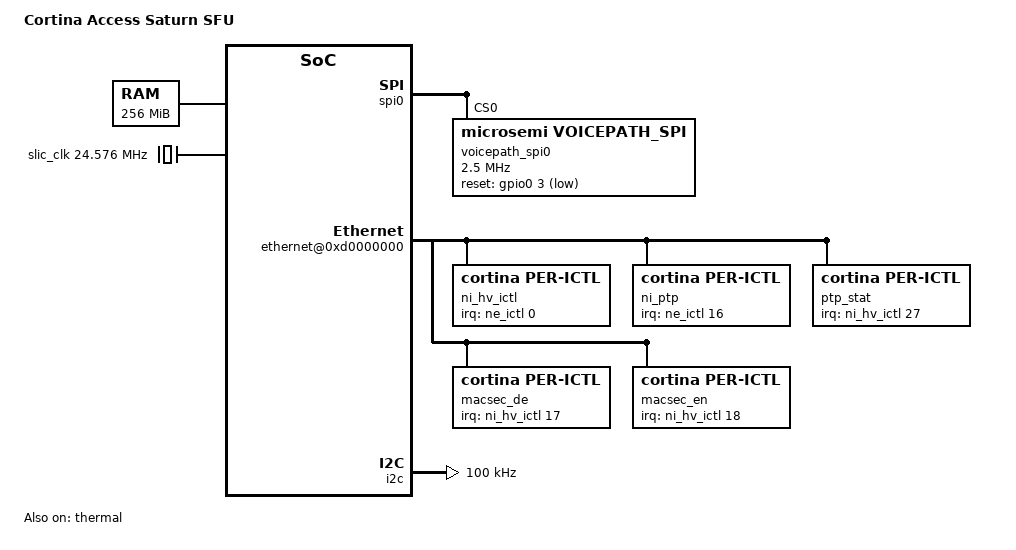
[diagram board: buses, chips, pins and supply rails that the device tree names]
/*
 * dts file for Cortina Access Saturn Development Board
 *
 * Copyright (C) 2016, Cortina Access
 */

#include <dt-bindings/gpio/gpio.h>
#include <dt-bindings/reset/cortina,rst-mgr.h>
#include "saturn_soc.dtsi"
#include "saturn_led.dtsi"

/* board specific and SoC overrides below */
/ {
	model = "Cortina Access Saturn SFU";
	#address-cells = <1>;
	#size-cells = <1>;

	memory { /* 256MB */
		device_type = "memory";
		reg = <0x00000000 0x10000000>;
	};
	
	ca_peri{
		compatible = "cortina,ca-peri";
		reg = <0xb2224018 0x1000>,
		      <0xbc100000 0x60>;
		interrupt-parent = <&per_ictl>;
		interrupts = <2>;
		interrupt-names = "TMR1";
	};

	qm_ictl: qm_ictl@bc100094 {     /* QM interrupt */
		compatible = "cortina,per-ictl";
		reg = <0xbc100094  0x8>;
		interrupt-controller;
		#interrupt-cells = <1>;
		interrupt-parent = <&cpuintc>;
		interrupts = <4>;
	};

	lso_fbm_ictl: lso_fbm_ictl@bc100084 {	/* LSO_FBM interrupt */
		status = "disabled";
		reg = <0xbc100084  0x8>;
	};

	dma_ssp_ictl0: dma_ssp_ictl@b400ae08 {     /* DMA_SSP0 interrupt */
		status = "disabled";
		compatible = "cortina,per-ictl";
		reg = <0xb400ae08  0x8>;
		interrupt-controller;
		#interrupt-cells = <1>;
		interrupt-parent = <&lso_fbm_ictl>;
		interrupts = <8>;
	};

	gpio-controller@b2224280 {
		#address-cells = <1>;
		#size-cells = <0>;
		compatible = "cortina,ca77xx-gpio";
		reg = <0xb2224280 0x90>,
		      <0xbc100058 0x10>;
		id = <0>;

		/* bank 0 with an interrupt */
		gpio0: bank@0 {
			gpio-controller;
			interrupt-controller;
			reg = <0>;
			ngpios = <32>;
			#gpio-cells = <2>;
			#interrupt-cells = <2>;
			interrupt-parent = <&per_ictl>;
			interrupts = <6>;
			gpio-ranges = <&pinctrl 0 0 32>;
		};

		/* bank 1 with an interrupt */
		gpio1: bank@1 {
			gpio-controller;
			interrupt-controller;
			reg = <1>;
			ngpios = <32>;
			#gpio-cells = <2>;
			#interrupt-cells = <2>;
			interrupt-parent = <&per_ictl>;
			interrupts = <7>;
			gpio-ranges = <&pinctrl 0 32 32>;
		};

		/* bank 2 without interrupt */
		gpio2: bank@2 {
			gpio-controller;
			interrupt-controller;
			reg = <2>;
			ngpios = <32>;
			#gpio-cells = <2>;
			#interrupt-cells = <2>;
			interrupt-parent = <&per_ictl>;
			interrupts = <8>;
			gpio-ranges = <&pinctrl 0 64 32>;
		};

		/* bank 3 without interrupt */
		gpio3: bank@3 {
			gpio-controller;
			interrupt-controller;
			reg = <3>;
			ngpios = <32>;
			#gpio-cells = <2>;
			#interrupt-cells = <2>;
			interrupt-parent = <&per_ictl>;
			interrupts = <9>;
			gpio-ranges = <&pinctrl 0 96 32>;
		};
	};

	pinctrl: pinctrl@0xbc100050 {
		compatible = "cortina,saturn-pinctrl";
		reg = <0xbc100050 0x18>;

		uart1_default: uart1_active {
			data_signals {
				pins = "GPIO_000", "GPIO_001", "PMUX_003";
				function = "multi-fn";
			};
		};

		led_ctrl_default: led_ctrl_active {
			data_signals {
				pins = "GPIO_006", "GPIO_007", "PMUX_004";
				function = "multi-fn";
			};
		};

		sflash4_ctrl_default: sflash4_enable_multi-io {
			data_signals {
				pins = "PMUX_024";
				function = "multi-fn";
			};
		};

		mmc_ctrl_default: mmc_ctrl_active {
			data_signals {
				pins = "GPIO_008", "GPIO_010", "PMUX_013";
				function = "multi-fn";
			};
		};
	};

	/* Driver for thermal sensor */
	thermal: thermal@bc10017c {
		compatible = "cortina,thermal-sensor";
		reg = <0xbc10017c 0x10>;
		status = "okay";
		#thermal-sensor-cells = <0>;
	};

	thermal-zones {
        cpu_thermal: cpu-thermal {
                polling-delay-passive = <500>; /* milliseconds */
                polling-delay = <1000>; /* milliseconds */

                thermal-sensors = <&thermal>;
        };
	};

	spi0: spi@b2224098 {
		compatible = "cortina,ca77xx-spi";
		reg = <0xb2224098 0x40>;
		interrupt-parent = <&per_ictl>;
		interrupts = <5>;
		clocks = <&io_clk>;
		#address-cells = <1>;
		#size-cells = <0>;

#if 0
		/* Si32183: channel_count = 1, with isi, mode spi-cpha
		 * Si32285: channel_count = 2, with isi, mode spi-cpha
		 */
		proslic_spi0: proslic_spi0@0 {
			compatible = "silabs,proslic_spi", "rohm,dh2228fv";
			status = "okay";
			spi-max-frequency = <2500000>;
			spi-isi;
			reg = <0>;
			spi-cpha;
			channel_count = <2>;
			debug_level = <7>;
			reset-gpio = <&gpio0 3 GPIO_ACTIVE_LOW>;
		};
#endif

#if 1
	        voicepath_spi0: voicepath_spi0@0 {
	                compatible = "microsemi,voicepath_spi", "rohm,dh2228fv";
	                status = "okay";
	                spi-max-frequency = <2500000>;
	                reg = <0>;
#if 0
	                spi-zsi;
	                spi-cpha;
	                spi-cpol;
#endif
	                channel_count = <2>;
	                debug_level = <7>;
	                reset-gpio = <&gpio0 3 GPIO_ACTIVE_LOW>;
	        };
#endif

#if 0
		lantiq_spi0: lantiq_spi0@0 {
			compatible = "lantiq,duslicxs", "rohm,dh2228fv";
			status = "okay";
			spi-max-frequency = <2500000>;
			reg = <0>;
			spi-cpha;
			spi-cpol;
			channel_count = <2>;
			debug_level = <7>;
			reset-gpio = <&gpio0 15 GPIO_ACTIVE_LOW>;
		};
#endif
	};

	slic_clk: ext_slic_clk {
		compatible = "fixed-clock";
		#clock-cells = <0>;

		/* extclk ONLY */
		/* ISI:24576000, ZSI:49152000 */
		clock-frequency = <24576000>;
		clock-output-names = "ext-slic-clk";
#if 0
		/* extclk & extsclk BOTH */
		clock-frequency = <2048000>;
		clock-output-names = "ext-slic-sclk";
#endif
	};

	audio: ssp0@b400ab80 {
		status = "disabled";
		compatible = "cortina,ca77xx-audio";
		reg = <0xb400ab80 0x80>,
		      <0xb400a064 0x08>,
		      <0xb400aa80 0x80>;
		reg-names = "ssp", "dma-glb", "dma-ssp";

		interrupt-parent = <&dma_ssp_ictl0>;
		interrupts = <6>,
			     <2>,
			     <3>;
		interrupt-names = "ssp", "dma-tx", "dma-rx";

		clocks = <&slic_clk>;
		clk-enhance;
	};

       /* Reserver memory region for Hash/FBM/NE and etc.
         * Fixme when NE team finalize size and offset
         */
        reserved-memory {
		#address-cells = <1>;
		#size-cells = <1>;

                ranges;

		ddr_cache_reserved: ddr_cache_buffer@0x03c48000 {
                           reg = <0x03c48000 0x2000000>;    /* reserved memory area in DDR $-coherent */
               };
		voip_reserved: voip_buffer@0x2000000 {
			 reg = <0x2000000 0x700000>;    /* reserved memory area in DDR for Taroko eCos */
		};

		voip_ipc_reserved: voip_ipc_noncache_buffer@0x2700000 {
			 reg = <0x2700000 0x100000>; 
		};

		pelog_reserved: pelog_shm@0x2800000 {
			 /*no-map;*/
			 reg = <0x2800000 0x1000>,
				<0x2801000 0x1000>;
		};
		pe_ipc_reserved: ipc_shm@0x2810000 {
			 /*no-map;*/
			 reg = <0x2810000 0x4800>;
		};
		iperf3_offload_reserved: iperf3_offload_pkt_buffer@0x02900000 {
			reg = <0x02900000 0x4e800>;
		};
        };

	pelog@0 {
		 compatible = "cortina,pelog";
		 memory-region = <&pelog_reserved>;
	};

	sem: sem@0x44110000 { /* Hardware Semaphore */
		compatible = "cortina,sem";
		reg = <0x44110000 0xc8>;				/* TODO - reserved for semaphore register*/
	};

	pe_ipc: pe_ipc@0x441100c8 { /* IPC */
		compatible = "cortina,ipc";
		memory-region = <&pe_ipc_reserved>;
		reg = <0x441100c8 0x48>;
		interrupt-parent = <&ipc0_ictl>;
		interrupts = <2>;
		interrupt-names = "IPC_PE0";
		pe-ipc-cpuid = <1>;
	};

	voip_ipc@0x2700000 {
		compatible = "cortina,voip_ipc";
		reg = <0xb2224000 0x20>,    /*PER_PERIPHERAL_INTERRUPT_0 base */
		      <0x40000000 0x10>;    /* DSP BOOT INS */
		memory-region = <&voip_ipc_reserved>,
				<&voip_reserved>;
		interrupt-parent = <&per_ictl>;	/* Saturn voip not work if comment out */
		interrupts = <0>;		/* Saturn voip not work if comment out */
		//pinctrl-0 = <&uart1_default>;	/* Saturn voip not work if comment out */
		//pinctrl-names = "default";	/* Saturn voip not work if comment out */

		resets = <&block_rst CPU_DSP_RESET>, <&block_rst RCPU1_RESET>, <&block_rst TAROKO1_ATU_RESET>;
		reset-names = "pe_reset", "rcpu_reset", "pe_atu_reset";
        };

        ethernet@0xd0000000 {
                compatible = "cortina,ni-interface";

                reg = <0xd0000000 0xa000>,       /* reserved memory area for HV NE(APB0) module registers */
                      <0x4410009c 0x10>,         /* reserved memory area for Global Network Engine Interrupt registers */
                      <0x522240d8 0x48>,         /* reserved memory area for MDIO registers */
                      <0xf4500000 0x2000>,       /* reserved memory area for XRAM */
                      <0xd000a000 0x900>,        /* reserved memory area for DMA LSO */
                      <0x40000000 0x40000>,      /* reserved memory area in SRAM */
                      <0x03c48000 0x2000000>,    /* reserved memory area in DDR $-coherent */
                      <0x02c48000 0x1000000>,    /* reserved memory area in DDR non-$cable, no used in Saturn SFU */
		      <0xd000b000 0x1000>,       /* reserved memory area for internal RTL8211 PHY registers */
                      <0xd000c000 0x2124>,       /* reserved memory area for XFI registers */
                      <0xd000e000 0x40>;         /* reserved memory area for PTP registers */

                interrupt-parent=<&qm_ictl>;
                interrupts=<8>, <9>, <10>, <11>, <12>, <13>, <14>, <15>, <16>, <17>;

                nvmem-cells = <&phy_param>, <&phy_calibration>;
                nvmem-cell-names = "param", "calibration";

                resets = <&block_rst NI_RESET>, <&block_rst L2FE_RESET>, <&block_rst L2TM_RESET>, <&block_rst L3FE_RESET>, <&block_rst SDRAM_RESET>, <&block_rst TQM_RESET>, <&block_rst DMA_RESET>, <&block_rst FBM_RESET>, <&global_cfg EXT_RESET>;
                reset-names = "ni_reset", "l2fe_reset", "l2tm_reset", "l3fe_reset", "sdram_reset", "tqm_reset", "dma_reset", "fbm_reset", "ext_reset";
               memory-region = <&ddr_cache_reserved>;

		dyinggasp-gpio = <&gpio0 1 GPIO_ACTIVE_LOW>;

		eth0: ethernet@0 {
			local-mac-address = [ 00 00 00 00 00 00 ];
		};

		eth1: ethernet@1 {
			local-mac-address = [ 00 00 00 00 00 00 ];
		};

		eth2: ethernet@2 {
			local-mac-address = [ 00 00 00 00 00 00 ];
		};

		eth3: ethernet@3 {
			local-mac-address = [ 00 00 00 00 00 00 ];
        };

		pon: pon_ictl@0 {
		interrupt-controller;
		#interrupt-cells = <1>;
		interrupt-parent = <&vecintc>;
		interrupts = <2>;
	};
	ni_psds_prbs: ni_psds_prbs@b403a220 {
                  compatible = "cortina,per-ictl";
                  interrupt-controller;
                  interrupt-parent = <&psds_prbs_ictl>;
                  interrupts = <0>;
                  };

        ni_hv_ictl: ni_hv_ictl@0xd000435c {
                  compatible = "cortina,per-ictl";
                  interrupt-controller;
                  interrupt-parent = <&ne_ictl>;
                  interrupts = <0>;
                  };

         ni_ptp: ni_ptp_ictl@0xd000433c {
                  compatible = "cortina,per-ictl";
                  interrupt-controller;
                  interrupt-parent = <&ne_ictl>;
                  interrupts = <16>;
                  };
                  
         ptp_stat: ptp_stat_ictl@0xd000433c  {
                  compatible = "cortina,per-ictl";
                  interrupt-controller;
                  interrupt-parent = <&ni_hv_ictl>;
                  interrupts = <27>;
                  };
                        
         macsec_de: macsec_de_ictl@0xd0004700 {
                  compatible = "cortina,per-ictl";
                  interrupt-controller;
                  interrupt-parent = <&ni_hv_ictl>;
                  interrupts = <17>;
                  };
                        
         macsec_en: macsec_en_ictl@0xd0004840 {
                  compatible = "cortina,per-ictl";
                  interrupt-controller;
                  interrupt-parent = <&ni_hv_ictl>;
                  interrupts = <18>;
                  };


			
        };


         i2c: i2c@b2224120  {
                  compatible = "cortina,ca77xx-i2c";
                  reg = <0xb2224120 0x28>;
                  interrupt-parent = <&per_ictl>;
                  interrupts = <11>;
                  device_type = "i2c";
                  clocks = <&io_clk>;
                  clock-frequency = <100000>;
         };
#if 0
	mmc0: mmc@b2100000 {
			compatible = "snps,dw-cortina";
			reg = <0xb2100000 0x1000>;
			sd_dll_ctrl_reg = <0x4410010c>;
			pinctrl-0 = <&mmc_ctrl_default>;
			pinctrl-names = "default";
			interrupt-parent = <&misc_ictl>;
			interrupts = <1>;
			interrupt-names = "sd_intri";
			clock-frequency = <200000000>;
			fifo-depth = <128>;
			fifo-watermark-aligned;
			card-detect-delay = <200>;
			bus-width = <4>;
			cap-sd-highspeed;
	};
#endif
};

&led_ctrl {
	hw-blink-rate1 = <256>;
	hw-blink-rate2 = <512>;
};

&led0 {
	active-low;
	status = "disabled";
};

&led1 {
	active-low;
	status = "disabled";
};

&led2 {
	active-low;
	status = "disabled";
};

&led3 {
	active-low;
	status = "disabled";
};

&led4 {
	active-low;
	status = "disabled";
};

&led5 {
	active-low;
	status = "disabled";
};

&led6 {
	active-low;
	status = "disabled";
};

&led7 {
	active-low;
	status = "disabled";
};

&led8 {
	active-low;
	label = "yellow:led13";
	on,sw;
	blink-rate1;
};

&led9 {
	active-low;
	label = "yellow:led12";
	on,sw;
	blink-rate1;
};

&led10 {
	active-low;
	label = "yellow:led11";
	on,sw;
	blink-rate1;
};

&led11 {
	active-low;
	label = "LAN";
	linux,default-trigger = "ca_phy3";
	port = <3>;
	default-state = "disabled";
};

&led12 {
	active-low;
	label = "yellow:led9";
	on,sw;
	blink-rate1;
};

&led13 {
	active-low;
	label = "yellow:led8";
	on,sw;
	blink-rate1;
};

&led14 {
	active-low;
	label = "yellow:led7";
	on,sw;
	blink-rate1;
};

&led15 {
	active-low;
	label = "yellow:led6";
	on,sw;
	blink-rate1;
};
